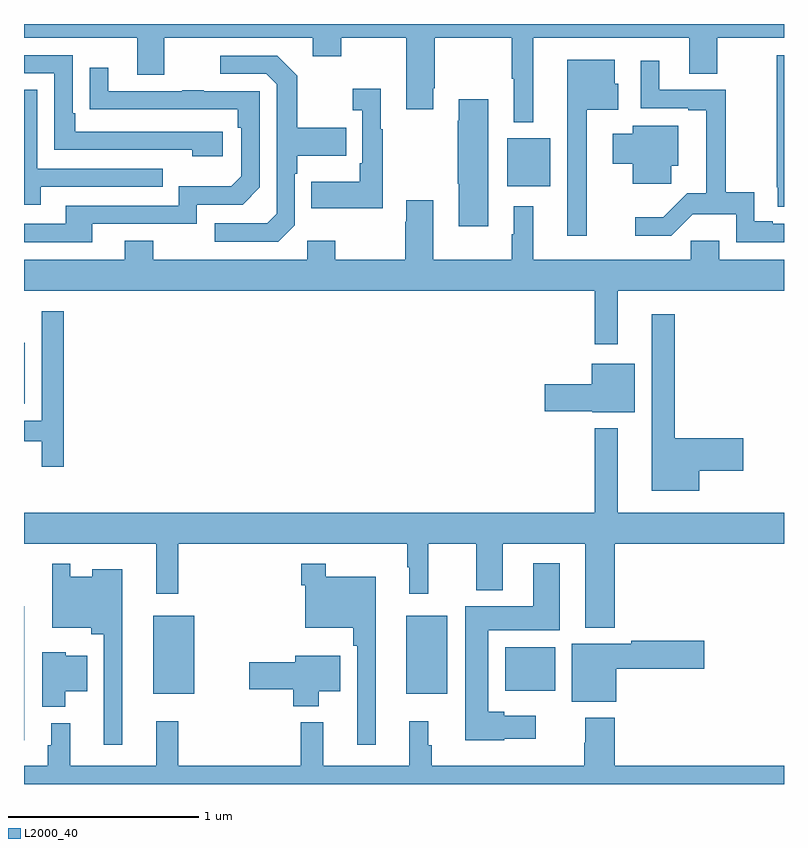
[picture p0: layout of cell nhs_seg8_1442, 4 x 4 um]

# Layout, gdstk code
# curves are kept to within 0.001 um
import gdstk
lib = gdstk.Library(unit=1e-6, precision=1e-09)
def R(c, l, rs):  # rectangles x0, y0, x1, y1
    for r in rs: c.add(gdstk.rectangle(r[:2], r[2:], *l))
def P(c, l, *ps):  # polygons
    for p in ps: c.add(gdstk.Polygon(p, *l))
L2000_40 = (2000, 40)

nhs_seg8_1442 = lib.new_cell('nhs_seg8_1442')
R(nhs_seg8_1442, L2000_40, [(203,1118.129,203.002,1118.836), (203.681,1118.375,203.896,1118.785), (205.013,1118.375,205.228,1118.785), (205.532,1118.39,205.795,1118.62), (203,1119.902,203.005,1120.222), (205.544,1121.045,205.771,1121.299)])
P(nhs_seg8_1442, L2000_40, [(205.681,1121.828),(206.501,1121.828),(206.501,1121.638),(206.649,1121.638),(206.649,1121.828),(207,1121.828),(207,1121.9),(203,1121.9),(203,1121.828),(203.597,1121.828),(203.597,1121.634),(203.737,1121.634),(203.737,1121.828),(204.521,1121.828),(204.521,1121.729),(204.669,1121.729),(204.669,1121.828),(205.013,1121.828),(205.013,1121.451),(205.153,1121.451),(205.153,1121.563),(205.161,1121.563),(205.161,1121.828),(205.567,1121.828),(205.567,1121.612),(205.577,1121.612),(205.577,1121.384),(205.681,1121.384)],
  [(204.046,1121.334),(203.269,1121.334),(203.269,1121.431),(203.256,1121.431),(203.256,1121.736),(203,1121.736),(203,1121.64),(203.16,1121.64),(203.16,1121.238),(203.885,1121.238),(203.885,1121.204),(204.046,1121.204)],
  [(207,1121.736),(206.962,1121.736),(206.962,1121.041),(206.968,1121.041),(206.968,1120.939),(207,1120.939)],
  [(204.426,1120.842),(204.426,1121.111),(204.439,1121.111),(204.439,1121.207),(204.695,1121.207),(204.695,1121.355),(204.439,1121.355),(204.439,1121.627),(204.333,1121.733),(204.033,1121.733),(204.033,1121.637),(204.276,1121.637),(204.33,1121.583),(204.33,1120.902),(204.279,1120.851),(204.003,1120.851),(204.003,1120.755),(204.339,1120.755)],
  [(205.963,1121.45),(206.128,1121.45),(206.128,1121.586),(206.11,1121.586),(206.11,1121.713),(205.859,1121.713),(205.859,1120.785),(205.963,1120.785)],
  [(207,1120.848),(206.941,1120.848),(206.941,1120.862),(206.844,1120.862),(206.844,1121.015),(206.693,1121.015),(206.693,1121.553),(206.344,1121.553),(206.344,1121.707),(206.247,1121.707),(206.247,1121.457),(206.495,1121.457),(206.495,1121.445),(206.591,1121.445),(206.591,1121.008),(206.491,1121.008),(206.365,1120.882),(206.217,1120.882),(206.217,1120.785),(206.406,1120.785),(206.519,1120.898),(206.748,1120.898),(206.748,1120.752),(207,1120.752)],
  [(203.359,1120.848),(203.91,1120.848),(203.91,1120.95),(204.15,1120.95),(204.24,1121.04),(204.24,1121.547),(203.945,1121.547),(203.945,1121.552),(203.833,1121.552),(203.833,1121.547),(203.443,1121.547),(203.443,1121.671),(203.347,1121.671),(203.347,1121.452),(204.124,1121.451),(204.124,1121.354),(204.144,1121.354),(204.144,1121.1),(204.091,1121.047),(203.814,1121.047),(203.814,1120.944),(203.219,1120.944),(203.219,1120.848),(203,1120.848),(203,1120.752),(203.359,1120.752)],
  [(204.889,1121.347),(204.877,1121.347),(204.877,1121.56),(204.729,1121.56),(204.729,1121.447),(204.78,1121.447),(204.78,1121.167),(204.768,1121.167),(204.768,1121.071),(204.511,1121.071),(204.511,1120.931),(204.889,1120.931)],
  [(203.089,1121.043),(203.729,1121.043),(203.729,1121.139),(203.07,1121.139),(203.07,1121.555),(203,1121.555),(203,1120.949),(203.089,1120.949)],
  [(205.444,1121.503),(205.289,1121.503),(205.289,1121.39),(205.282,1121.39),(205.282,1121.059),(205.289,1121.059),(205.289,1120.836),(205.444,1120.836)],
  [(206.407,1121.153),(206.443,1121.153),(206.443,1121.365),(206.204,1121.365),(206.204,1121.323),(206.099,1121.323),(206.099,1121.165),(206.204,1121.165),(206.204,1121.06),(206.407,1121.06)],
  [(206.125,1120.496),(207,1120.496),(207,1120.66),(206.659,1120.66),(206.659,1120.758),(206.508,1120.758),(206.508,1120.66),(205.681,1120.66),(205.681,1120.942),(205.577,1120.942),(205.577,1120.793),(205.567,1120.793),(205.567,1120.66),(205.153,1120.66),(205.153,1120.972),(205.013,1120.972),(205.013,1120.859),(205.006,1120.859),(205.006,1120.66),(204.639,1120.66),(204.639,1120.759),(204.492,1120.759),(204.492,1120.66),(203.679,1120.66),(203.679,1120.759),(203.531,1120.759),(203.531,1120.66),(203,1120.66),(203,1120.496),(206.004,1120.496),(206.004,1120.215),(206.125,1120.215)],
  [(203.21,1120.387),(203.094,1120.387),(203.094,1119.813),(203,1119.813),(203,1119.705),(203.093,1119.705),(203.093,1119.57),(203.21,1119.57)],
  [(206.554,1119.548),(206.785,1119.548),(206.785,1119.719),(206.425,1119.719),(206.425,1120.372),(206.303,1120.372),(206.303,1119.443),(206.554,1119.443)],
  [(206.215,1120.111),(205.988,1120.111),(205.988,1120.005),(205.74,1120.005),(205.74,1119.863),(205.992,1119.863),(205.992,1119.857),(206.215,1119.857)],
  [(203,1119.164),(203.696,1119.164),(203.696,1118.901),(203.813,1118.901),(203.813,1119.164),(205.017,1119.164),(205.017,1119.041),(205.028,1119.041),(205.028,1118.901),(205.128,1118.901),(205.128,1119.164),(205.379,1119.164),(205.379,1118.921),(205.519,1118.921),(205.519,1119.164),(205.955,1119.164),(205.955,1118.723),(206.108,1118.723),(206.108,1119.164),(207,1119.164),(207,1119.328),(206.125,1119.328),(206.125,1119.772),(206.004,1119.772),(206.004,1119.328),(203,1119.328)],
  [(205.527,1118.138),(205.693,1118.138),(205.693,1118.26),(205.527,1118.26),(205.527,1118.281),(205.444,1118.281),(205.444,1118.708),(205.819,1118.708),(205.819,1119.061),(205.679,1119.061),(205.679,1118.836),(205.322,1118.836),(205.322,1118.129),(205.527,1118.129)],
  [(204.85,1118.992),(204.589,1118.992),(204.589,1119.058),(204.46,1119.058),(204.46,1118.945),(204.48,1118.945),(204.48,1118.723),(204.733,1118.723),(204.733,1118.627),(204.753,1118.627),(204.753,1118.106),(204.85,1118.106)],
  [(203.518,1119.031),(203.36,1119.031),(203.36,1118.992),(203.244,1118.992),(203.244,1119.058),(203.148,1119.058),(203.148,1118.723),(203.353,1118.723),(203.353,1118.687),(203.421,1118.687),(203.421,1118.106),(203.518,1118.106)],
  [(206.116,1118.507),(206.581,1118.507),(206.581,1118.654),(206.196,1118.654),(206.196,1118.638),(205.883,1118.638),(205.883,1118.333),(206.116,1118.333)],
  [(203.218,1118.387),(203.332,1118.387),(203.332,1118.575),(203.22,1118.575),(203.22,1118.593),(203.096,1118.593),(203.096,1118.306),(203.218,1118.306)],
  [(204.55,1118.387),(204.664,1118.387),(204.664,1118.575),(204.428,1118.575),(204.428,1118.54),(204.186,1118.54),(204.186,1118.398),(204.416,1118.398),(204.416,1118.309),(204.55,1118.309)],
  [(207,1117.996),(206.108,1117.996),(206.108,1118.248),(205.955,1118.248),(205.955,1118.117),(205.948,1118.117),(205.948,1117.996),(205.145,1117.996),(205.145,1118.105),(205.127,1118.105),(205.127,1118.23),(205.028,1118.23),(205.028,1117.996),(204.575,1117.996),(204.575,1118.224),(204.457,1118.224),(204.457,1117.996),(203.813,1117.996),(203.813,1118.23),(203.696,1118.23),(203.696,1117.996),(203.243,1117.996),(203.243,1118.221),(203.144,1118.221),(203.144,1118.103),(203.125,1118.103),(203.125,1117.996),(203,1117.996),(203,1117.9),(207,1117.9)])

lib.write_gds('nhs_seg8_1442.gds')
